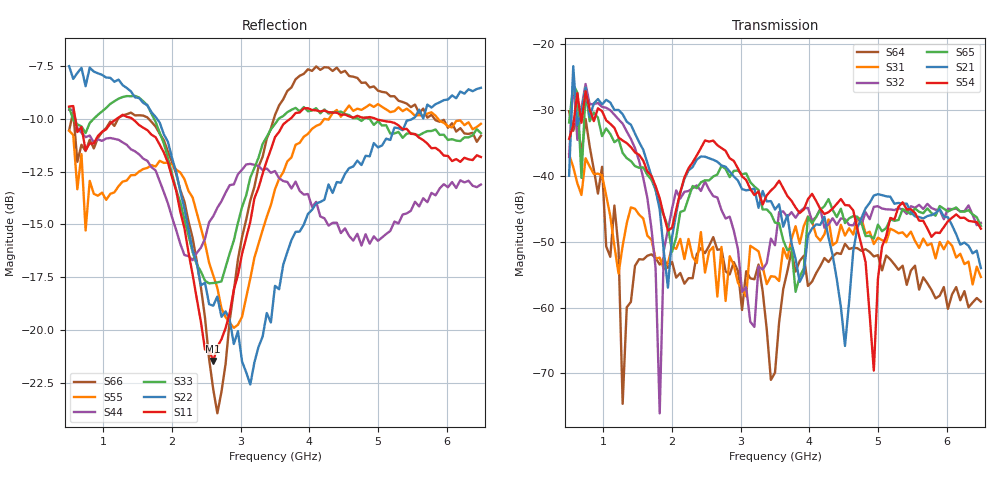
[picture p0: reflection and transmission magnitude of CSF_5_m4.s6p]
!Keysight Technologies,M9804A,MY58100912,A.14.10.03
!Date: Thursday, April 27, 2023 10:28:33
!Correction: S11(C  6-Port  )
!S12(C  6-Port  )
!S13(C  6-Port  )
!S14(C  6-Port  )
!S15(C  6-Port  )
!S16(C  6-Port  )
!S21(C  6-Port  )
!S22(C  6-Port  )
!S23(C  6-Port  )
!S24(C  6-Port  )
!S25(C  6-Port  )
!S26(C  6-Port  )
!S31(C  6-Port  )
!S32(C  6-Port  )
!S33(C  6-Port  )
!S34(C  6-Port  )
!S35(C  6-Port  )
!S36(C  6-Port  )
!S41(C  6-Port  )
!S42(C  6-Port  )
!S43(C  6-Port  )
!S44(C  6-Port  )
!S45(C  6-Port  )
!S46(C  6-Port  )
!S51(C  6-Port  )
!S52(C  6-Port  )
!S53(C  6-Port  )
!S54(C  6-Port  )
!S55(C  6-Port  )
!S56(C  6-Port  )
!S61(C  6-Port  )
!S62(C  6-Port  )
!S63(C  6-Port  )
!S64(C  6-Port  )
!S65(C  6-Port  )
!S66(C  6-Port  )
!S6P File: Measurement: :
# Hz S  RI  R 50
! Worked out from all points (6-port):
!   101 points, 500 MHz to 6.5 GHz, reference 50 ohm
!   strongest paths, dB at 500 MHz, 2 GHz, 3.5 GHz, 5 GHz, 6.5 GHz:
!     S54: -34.3, -47.9, -41.6, -55.6, -48.0
!     S21: -40.0, -49.3, -45.1, -42.8, -54.0
!     S65: -31.9, -51.5, -47.1, -47.4, -47.6
!     S32: -37.1, -45.0, -50.5, -44.6, -47.1
!     S31: -36.7, -50.8, -55.3, -49.4, -55.4
!     S64: -30.1, -53.1, -69.9, -52.0, -59.1
!   lowest |S11| = -21.5 dB at 2.6 GHz (marker M1), VSWR 1.18, Z = 42.5 + j2.2 ohm
!   |S11| at or under -10 dB: 589.9 MHz to 1.19 GHz (600.3 MHz wide, 67.4 % of centre); 1.423 GHz to 3.717 GHz (2.295 GHz wide, 89.3 % of centre); 4.974 GHz to end of sweep
